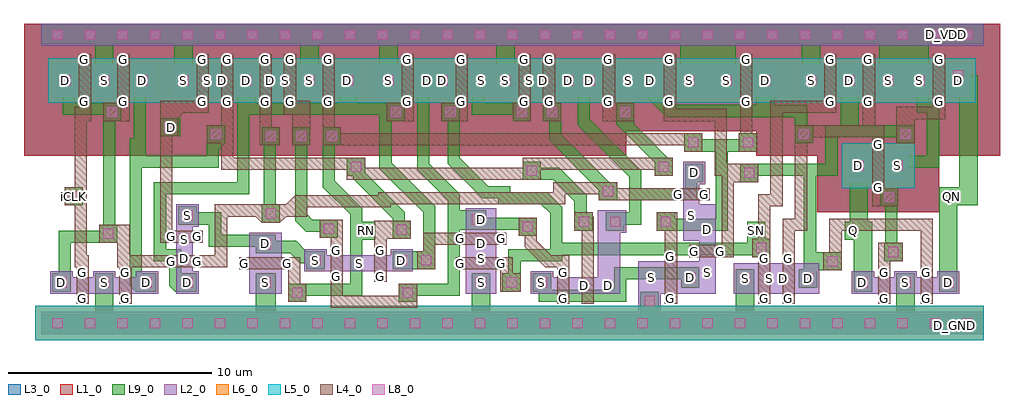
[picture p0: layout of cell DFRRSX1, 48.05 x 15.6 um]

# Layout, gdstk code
import gdstk
lib = gdstk.Library(unit=1e-6, precision=1e-09)
def R(c, l, rs):  # rectangles x0, y0, x1, y1
    for r in rs: c.add(gdstk.rectangle(r[:2], r[2:], *l))
def A(c, l, x, y, w, h, nx, ny, dx, dy):  # array of equal rectangles
    R(c, l, [(x+i*dx, y+j*dy, x+i*dx+w, y+j*dy+h) for i in range(nx) for j in range(ny)])
def P(c, l, *ps):  # polygons
    for p in ps: c.add(gdstk.Polygon(p, *l))
L1_0 = (1, 0)
L2_0 = (2, 0)
L3_0 = (3, 0)
L4_0 = (4, 0)
L5_0 = (5, 0)
L6_0 = (6, 0)
L8_0 = (8, 0)
L9_0 = (9, 0)

dfrrsx1 = lib.new_cell('DFRRSX1')
A(dfrrsx1, L1_0, 0, 8.8, 1.6, 6.5, 18, 1, 1.6, 0)
A(dfrrsx1, L1_0, 35.2, 8.8, 1.6, 6.5, 7, 1, 1.6, 0)
R(dfrrsx1, L1_0, [(38.2,6,44.2,10.6), (-0.85,8.8,0.3,15.3), (46.3,8.8,47.2,15.3), (28.8,10,35.2,15.3), (-0.85,10.2,5.15,14.8), (1.05,10.2,7.05,14.8), (4.95,10.2,10.95,14.8), (6.15,10.2,12.15,14.8), (8.05,10.2,14.05,14.8), (9.25,10.2,15.25,14.8), (11.15,10.2,17.15,14.8), (15.05,10.2,21.05,14.8), (17.7,10.2,23.7,14.8), (20.8,10.2,26.8,14.8), (22,10.2,28,14.8), (24.95,10.2,30.95,14.8), (27.95,10.2,33.95,14.8), (31.7,10.2,37.7,14.8), (35.85,10.2,41.85,14.8), (37.75,10.2,43.75,14.8), (41.2,10.2,47.2,14.8)])
A(dfrrsx1, L2_0, 0, 0, 1.6, 1.1, 29, 2, 1.6, 14.2)
A(dfrrsx1, L2_0, 21.1, 11.7, 1.1, 1.6, 3, 1, 1.2, 0)
R(dfrrsx1, L2_0, [(29.4,1.1,30.5,2.2), (0.45,2,1.55,3.1), (1.55,2,2.55,2.8), (2.55,2,3.65,3.1), (2.55,2,3.65,3.1), (3.65,2,4.65,2.8), (4.65,2,5.75,3.1), (6.65,2,7.75,3.1), (10.25,2,11.85,3.1), (20.9,2,22.4,3.1), (24.1,2,25.2,3.1), (25.2,2,26.2,2.8), (25.3,2,26.4,2.8), (26.2,2,27.3,2.8), (26.4,2,27.4,2.8), (27.4,2,28.5,2.8), (27.4,2,28.5,6.1), (29.5,2,30.6,3.6), (30.6,2,31.4,3.6), (31.4,2,32.5,3.6), (31.4,2,33.2,3.6), (34.1,2,35.2,3.5), (35.2,2,36,3.5), (35.3,2,36.4,3.5), (36,2,37.1,3.5), (36.4,2,37.2,3.5), (37.2,2,38.3,3.5), (39.9,2,41,3.1), (41,2,42,2.8), (42,2,43.1,3.1), (42,2,43.1,3.1), (43.1,2,44.1,2.8), (44.1,2,45.2,3.1), (29.4,2.2,29.5,3.6), (31.4,2.25,32.5,3.35), (32.4,2.5,33.2,3.6), (6.65,3.1,7.45,4.1), (10.25,3.1,11.85,3.9), (12.95,3.1,14.05,4.2), (14.05,3.1,15.05,3.9), (15.05,3.1,16.15,3.9), (15.1,3.1,16.2,3.9), (16.2,3.1,17.2,3.9), (17.2,3.1,18.3,4.2), (20.9,3.1,22.4,3.9), (6.65,3.2,7.45,4.3), (20.9,3.2,22.4,4.3), (32.4,3.6,33.2,4.6), (10.25,3.9,11.85,5), (20.9,3.9,22.4,5), (6.65,4.1,7.45,5.2), (6.65,4.3,7.45,5.3), (20.9,4.3,22.4,5.1), (31.6,4.6,33.2,6.4), (32.4,4.6,33.2,5.7), (27.7,5,28.8,6.1), (20.9,5.1,22,6.2), (20.9,5.1,22.4,6.2), (6.65,5.3,7.75,6.4), (31.6,5.3,32.4,6.4), (31.6,6.4,32.4,7.4), (31.6,7.4,32.7,8.5), (39.7,7.5,40.8,9.1), (40.8,7.5,41.6,9.1), (41.6,7.5,42.7,9.1), (0.65,11.7,1.75,13.3), (1.75,11.7,2.55,13.3), (2.55,11.7,3.65,13.3), (2.55,11.7,3.65,13.3), (3.65,11.7,4.45,13.3), (4.45,11.7,5.55,13.3), (6.45,11.7,7.55,13.3), (7.55,11.7,8.35,13.3), (7.65,11.7,8.75,13.3), (8.35,11.7,9.45,13.3), (8.75,11.7,9.55,13.3), (9.55,11.7,10.65,13.3), (9.55,11.7,10.65,13.3), (10.65,11.7,11.45,13.3), (10.75,11.7,11.85,13.3), (11.45,11.7,12.55,13.3), (11.85,11.7,12.65,13.3), (12.65,11.7,13.75,13.3), (12.65,11.7,13.75,13.3), (13.75,11.7,14.55,13.3), (14.55,11.7,15.65,13.3), (16.55,11.7,17.65,13.3), (17.65,11.7,18.45,13.3), (18.45,11.7,19.55,13.3), (19.2,11.7,20.3,13.3), (20.3,11.7,21.1,13.3), (21.1,11.7,23.4,13.3), (23.4,11.7,24.2,13.3), (24.2,11.7,25.3,13.3), (24.6,11.7,25.4,13.3), (25.4,11.7,26.5,13.3), (26.45,11.7,27.55,13.3), (27.55,11.7,28.35,13.3), (28.35,11.7,29.45,13.3), (29.45,11.7,30.55,13.3), (30.55,11.7,31.35,13.3), (31.35,11.7,32.45,13.3), (32.45,11.7,33.2,13.3), (33.2,11.7,34.3,13.3), (34.3,11.7,35.1,13.3), (35.1,11.7,36.2,13.3), (37.35,11.7,38.45,13.3), (38.45,11.7,39.25,13.3), (39.25,11.7,40.35,13.3), (39.25,11.7,40.35,13.3), (40.35,11.7,41.15,13.3), (41.15,11.7,42.25,13.3), (42.25,11.7,42.7,13.3), (42.7,11.7,43.8,13.3), (43.8,11.7,44.6,13.3), (44.6,11.7,45.7,13.3), (22.3,11.95,23.4,13.05), (44.6,12.2,45.7,13.3)])
A(dfrrsx1, L3_0, 0, 8.8, 1.6, 6.5, 18, 1, 1.6, 0)
A(dfrrsx1, L3_0, 35.2, 8.8, 1.6, 6.5, 7, 1, 1.6, 0)
R(dfrrsx1, L3_0, [(38.2,6,44.2,10.6), (-0.85,8.8,0.3,15.3), (46.3,8.8,47.2,15.3), (28.8,10,35.2,15.3), (-0.85,10.2,5.15,14.8), (1.05,10.2,7.05,14.8), (4.95,10.2,10.95,14.8), (6.15,10.2,12.15,14.8), (8.05,10.2,14.05,14.8), (9.25,10.2,15.25,14.8), (11.15,10.2,17.15,14.8), (15.05,10.2,21.05,14.8), (17.7,10.2,23.7,14.8), (20.8,10.2,26.8,14.8), (22,10.2,28,14.8), (24.95,10.2,30.95,14.8), (27.95,10.2,33.95,14.8), (31.7,10.2,37.7,14.8), (35.85,10.2,41.85,14.8), (37.75,10.2,43.75,14.8), (41.2,10.2,47.2,14.8)])
A(dfrrsx1, L4_0, 10.85, 9.3, 0.9, 0.9, 3, 1, 1.5, 0)
R(dfrrsx1, L4_0, [(1.75,1.5,2.35,2), (1.75,1.5,2.35,3.3), (3.85,1.5,4.45,2), (3.85,1.5,4.45,3.3), (25.4,1.5,26,2), (25.4,1.5,26,3.3), (26.6,1.5,27.2,2), (26.6,1.5,27.2,3.3), (30.7,1.5,31.3,4.1), (30.7,1.5,31.3,2), (35.3,1.5,35.9,2), (35.3,1.5,35.9,4), (36.5,1.5,37.1,2), (36.5,1.5,37.1,4), (41.2,1.5,41.8,2), (41.2,1.5,41.8,3.3), (43.3,1.5,43.9,2), (43.3,1.5,43.9,3.3), (12.15,1.6,13.05,2.5), (17.6,1.6,18.5,2.5), (22.6,2.1,23.2,3.8), (22.7,2.1,23.6,3), (12.15,2.5,12.75,3.8), (14.25,2.6,14.85,3.1), (14.25,2.6,14.85,4.4), (16.4,2.6,17,3.1), (16.4,2.6,17,4.4), (1.75,2.8,2.35,3.3), (3.85,2.8,4.45,3.3), (25.4,2.8,26,3.3), (26.6,2.8,27.2,3.3), (41.2,2.8,41.8,3.3), (43.3,2.8,43.9,3.3), (38.5,3.15,39.4,4.05), (9.75,3.2,12.35,3.8), (9.75,3.2,10.25,3.8), (11.85,3.2,12.35,3.8), (18.5,3.2,19.4,4.1), (20.4,3.2,20.9,3.8), (20.4,3.2,22.9,3.8), (22.4,3.2,22.9,3.8), (6.15,3.3,6.65,3.9), (6.15,3.3,7.95,3.9), (7.45,3.3,7.95,3.9), (26.6,3.3,27.2,5.8), (41.2,3.3,41.8,4.5), (35.3,3.5,35.9,4), (36.5,3.5,37.1,4), (30.7,3.6,31.3,4.1), (41.5,3.6,42.4,4.5), (31.9,3.8,32.4,4.4), (31.9,3.8,33.7,4.4), (33.2,3.8,33.7,4.4), (35,3.8,35.9,4.7), (14.25,3.9,14.85,4.4), (16.4,3.9,17,4.4), (30.7,4.05,31.3,6), (14.25,4.4,14.85,5.65), (20.4,4.4,20.9,5), (20.4,4.4,22.9,5), (22.4,4.4,22.9,5), (2.85,4.5,3.75,5.4), (6.15,4.5,6.65,5.1), (6.15,4.5,7.95,5.1), (7.45,4.5,7.95,5.1), (17.3,4.7,18.2,5.6), (13.7,4.75,14.6,5.65), (23.5,4.85,24.4,5.75), (26.25,5.1,27.15,6), (30.3,5.1,31.2,6), (10.85,5.5,11.75,6.4), (40.9,6.3,41.3,7), (41.3,6.3,42.2,7.2), (1.15,6.35,2.05,7.25), (27.45,6.6,28.35,7.5), (28.35,6.6,31.4,7.2), (31.1,6.6,31.6,7.2), (31.1,6.6,32.9,7.2), (32.4,6.6,32.9,7.2), (40.9,7,41.5,9.6), (40.9,7,41.5,7.5), (34.1,7.5,34.4,8.4), (34.4,7.5,35.3,8.4), (23.7,7.6,24.6,8.5), (15.05,7.8,15.95,8.7), (30.2,7.8,31.1,8.7), (31.65,9,32.55,9.9), (34.35,9,35.25,9.9), (40.9,9.1,41.5,9.6), (10.75,9.3,11.35,11.2), (14.75,9.3,29.85,9.9), (29.75,9.3,32.55,9.9), (8.15,9.4,9.05,10.3), (37.1,9.4,38,10.3), (42.1,9.4,43,10.3), (5.85,9.75,6.75,10.65), (34.4,9.9,35,11.25), (13.85,10.2,14.45,11.2), (42.1,10.3,43,10.6), (3.05,10.5,3.95,11.4), (3.75,10.5,4.35,11.25), (17,10.5,17.9,11.4), (17.75,10.5,18.35,11.2), (19.7,10.5,20.6,11.4), (20.4,10.5,21,11.2), (23.2,10.5,24.1,11.4), (24.7,10.5,25.6,11.4), (27.65,10.5,28.9,11.4), (28.3,10.5,29.2,11.4), (42.1,10.6,44.5,11.2), (1.85,11.2,2.45,13.8), (1.85,11.2,2.45,11.7), (3.75,11.2,4.35,13.8), (3.75,11.2,4.35,11.7), (7.65,11.2,8.25,13.8), (7.65,11.2,8.25,11.7), (8.85,11.2,9.45,13.8), (8.85,11.2,9.45,11.7), (10.75,11.2,11.35,13.8), (10.75,11.2,11.35,11.7), (11.95,11.2,12.55,13.8), (11.95,11.2,12.55,11.7), (13.85,11.2,14.45,13.8), (13.85,11.2,14.45,11.7), (17.75,11.2,18.35,13.8), (17.75,11.2,18.35,11.7), (20.4,11.2,21,13.8), (20.4,11.2,21,11.7), (23.5,11.2,24.1,13.8), (23.5,11.2,24.1,11.7), (24.7,11.2,25.3,13.8), (24.7,11.2,25.3,11.7), (27.65,11.2,28.25,13.8), (27.65,11.2,28.25,11.7), (30.65,11.2,31.25,13.8), (30.65,11.2,31.25,11.7), (34.4,11.2,35,13.8), (34.4,11.2,35,11.7), (38.55,11.2,39.15,13.8), (38.55,11.2,39.15,11.7), (40.45,11.2,41.05,13.8), (40.45,11.2,41.05,11.7), (43.9,11.2,44.5,13.8), (43.9,11.2,44.5,11.7), (1.85,13.3,2.45,13.8), (3.75,13.3,4.35,13.8), (7.65,13.3,8.25,13.8), (8.85,13.3,9.45,13.8), (10.75,13.3,11.35,13.8), (11.95,13.3,12.55,13.8), (13.85,13.3,14.45,13.8), (17.75,13.3,18.35,13.8), (20.4,13.3,21,13.8), (23.5,13.3,24.1,13.8), (24.7,13.3,25.3,13.8), (27.65,13.3,28.25,13.8), (30.65,13.3,31.25,13.8), (34.4,13.3,35,13.8), (38.55,13.3,39.15,13.8), (40.45,13.3,41.05,13.8), (43.9,13.3,44.5,13.8)])
P(dfrrsx1, L4_0, [(12.5,6.85),(12.05,6.4),(12.5,6.4)],
  [(3.75,3.3),(6.15,3.3),(6.15,3.9),(4.35,3.9),(4.35,5.4),(3.75,5.4)],
  [(11.75,5.5),(12.05,5.8),(11.75,5.8)],
  [(10.55,5.8),(10.85,5.5),(10.85,5.8)],
  [(14.25,1.3),(18.5,1.3),(18.5,1.9),(14.85,1.9),(14.85,2.6),(14.25,2.6)],
  [(18.8,4.1),(19.4,4.1),(19.4,4.4),(20.4,4.4),(20.4,5),(18.8,5)],
  [(23.8,4.3),(24.8,3.3),(26,3.3),(26,3.9),(25.1,3.9),(24.4,4.6),(24.4,4.85),(23.8,4.85)],
  [(5.85,4.5),(6.45,4.5),(6.45,10.9),(8.25,10.9),(8.25,11.5),(5.85,11.5)],
  [(1.65,3.3),(2.35,3.3),(2.35,3.9),(2.25,3.9),(2.25,10.5),(2.45,10.5),(2.45,11.2),(1.65,11.2)],
  [(6.45,10.65),(6.75,10.65),(7,10.9),(6.45,10.9)],
  [(16.4,4.4),(17,4.4),(17,4.7),(17.3,4.7),(17.3,5.6),(16.4,5.6)],
  [(11.95,10.8),(12.35,10.8),(12.35,10.2),(13.25,10.2),(13.25,11.5),(11.95,11.5)],
  [(8.85,8.1),(15.05,8.1),(15.05,7.6),(24.3,7.6),(24.3,8.1),(30.2,8.1),(30.2,8.7),(23.7,8.7),(23.7,8.2),(15.65,8.2),(15.65,8.7),(9.45,8.7),(9.45,11.2),(8.85,11.2)],
  [(7.95,3.3),(9.15,3.3),(9.15,5.8),(13.1,5.8),(13.1,6.25),(17.2,6.25),(17.2,6.4),(25.8,6.4),(25.8,6.9),(28.35,6.9),(28.35,7.5),(25.2,7.5),(25.2,7),(16.6,7),(16.6,6.85),(12.5,6.85),(12.5,6.4),(8.55,6.4),(8.55,3.9),(7.95,3.9)],
  [(30.65,10.5),(33.15,10.5),(33.15,7.8),(33.5,7.8),(33.5,3.8),(34.1,3.8),(34.1,8.4),(33.75,8.4),(33.75,11.1),(31.25,11.1),(31.25,11.2),(30.65,11.2)],
  [(35.3,4.7),(35.9,4.7),(35.9,6.3),(36.5,6.3),(36.5,10.9),(39.15,10.9),(39.15,11.5),(35.9,11.5),(35.9,6.9),(35.3,6.9)],
  [(38,9.7),(41.05,9.7),(41.05,11.2),(40.45,11.2),(40.45,10.3),(38,10.3)],
  [(36.5,4),(37.1,4),(37.1,5.1),(37.7,5.1),(37.7,10.3),(37.1,10.3),(37.1,5.7),(36.5,5.7)],
  [(40.25,9.7),(40.9,9.7),(40.9,9),(41.5,9),(41.5,10.3),(40.25,10.3)],
  [(38.8,4.05),(39.4,4.05),(39.4,5.1),(43.3,5.1),(43.3,3.25),(43.9,3.25),(43.9,5.7),(38.8,5.7)])
A(dfrrsx1, L5_0, 1.6, -0.3, 1.6, 1.7, 28, 1, 1.6, 0)
R(dfrrsx1, L5_0, [(-0.3,-0.3,1.6,1.4), (39.4,7.2,43,9.4), (0.35,11.4,3.95,13.6), (2.25,11.4,5.85,13.6), (5.85,11.4,6.15,13.6), (6.15,11.4,9.75,13.6), (7.35,11.4,10.95,13.6), (9.25,11.4,12.85,13.6), (10.45,11.4,14.05,13.6), (12.35,11.4,15.95,13.6), (15.95,11.4,16.25,13.6), (16.25,11.4,19.85,13.6), (18.9,11.4,22.5,13.6), (22,11.4,25.6,13.6), (23.2,11.4,26.8,13.6), (26.15,11.4,29.75,13.6), (29.15,11.4,32.75,13.6), (32.75,11.4,33.05,13.6), (32.9,11.4,36.5,13.6), (36.5,11.4,37.05,13.6), (37.05,11.4,40.65,13.6), (38.95,11.4,42.55,13.6), (42.4,11.4,46,13.6)])
A(dfrrsx1, L6_0, 1.6, -0.3, 1.6, 1.7, 28, 1, 1.6, 0)
R(dfrrsx1, L6_0, [(-0.3,-0.3,1.6,1.4), (39.4,7.2,43,9.4), (0.35,11.4,3.95,13.6), (2.25,11.4,5.85,13.6), (5.85,11.4,6.15,13.6), (6.15,11.4,9.75,13.6), (7.35,11.4,10.95,13.6), (9.25,11.4,12.85,13.6), (10.45,11.4,14.05,13.6), (12.35,11.4,15.95,13.6), (15.95,11.4,16.25,13.6), (16.25,11.4,19.85,13.6), (18.9,11.4,22.5,13.6), (22,11.4,25.6,13.6), (23.2,11.4,26.8,13.6), (26.15,11.4,29.75,13.6), (29.15,11.4,32.75,13.6), (32.75,11.4,33.05,13.6), (32.9,11.4,36.5,13.6), (36.5,11.4,37.05,13.6), (37.05,11.4,40.65,13.6), (38.95,11.4,42.55,13.6), (42.4,11.4,46,13.6)])
A(dfrrsx1, L8_0, 0.55, 0.3, 0.5, 0.5, 29, 2, 1.6, 14.2)
A(dfrrsx1, L8_0, 21.4, 2.3, 0.5, 0.5, 3, 1, 1.5, 0)
A(dfrrsx1, L8_0, 11.05, 9.5, 0.5, 0.5, 3, 1, 1.5, 0)
R(dfrrsx1, L8_0, [(29.7,1.4,30.2,1.9), (12.35,1.8,12.85,2.3), (17.8,1.8,18.3,2.3), (0.75,2.3,1.25,2.8), (2.85,2.3,3.35,2.8), (2.85,2.3,3.35,2.8), (4.95,2.3,5.45,2.8), (6.95,2.3,7.45,2.8), (10.8,2.3,11.3,2.8), (40.2,2.3,40.7,2.8), (42.3,2.3,42.8,2.8), (42.3,2.3,42.8,2.8), (44.4,2.3,44.9,2.8), (34.4,2.5,34.9,3), (37.5,2.5,38,3), (31.7,2.55,32.2,3.05), (31.7,2.55,32.2,3.05), (38.7,3.35,39.2,3.85), (13.25,3.4,13.75,3.9), (17.5,3.4,18,3.9), (18.7,3.4,19.2,3.9), (41.7,3.8,42.2,4.3), (35.2,4,35.7,4.5), (10.8,4.2,11.3,4.7), (3.05,4.7,3.55,5.2), (17.5,4.9,18,5.4), (13.9,4.95,14.4,5.45), (23.7,5.05,24.2,5.55), (26.45,5.3,26.95,5.8), (28,5.3,28.5,5.8), (30.5,5.3,31,5.8), (21.2,5.4,21.7,5.9), (6.95,5.6,7.45,6.1), (11.05,5.7,11.55,6.2), (41.5,6.5,42,7), (1.35,6.55,1.85,7.05), (27.65,6.8,28.15,7.3), (31.9,7.7,32.4,8.2), (34.6,7.7,35.1,8.2), (23.9,7.8,24.4,8.3), (15.25,8,15.75,8.5), (30.4,8,30.9,8.5), (40,8.05,40.5,8.55), (41.9,8.05,42.4,8.55), (31.85,9.2,32.35,9.7), (34.55,9.2,35.05,9.7), (8.35,9.6,8.85,10.1), (37.3,9.6,37.8,10.1), (42.3,9.6,42.8,10.1), (6.05,9.95,6.55,10.45), (3.25,10.7,3.75,11.2), (17.2,10.7,17.7,11.2), (19.9,10.7,20.4,11.2), (23.4,10.7,23.9,11.2), (24.9,10.7,25.4,11.2), (28.5,10.7,29,11.2), (0.95,12.25,1.45,12.75), (2.85,12.25,3.35,12.75), (2.85,12.25,3.35,12.75), (4.75,12.25,5.25,12.75), (6.75,12.25,7.25,12.75), (9.85,12.25,10.35,12.75), (9.85,12.25,10.35,12.75), (12.95,12.25,13.45,12.75), (12.95,12.25,13.45,12.75), (14.85,12.25,15.35,12.75), (16.85,12.25,17.35,12.75), (19.5,12.25,20,12.75), (22.6,12.25,23.1,12.75), (22.6,12.25,23.1,12.75), (25.7,12.25,26.2,12.75), (26.75,12.25,27.25,12.75), (31.65,12.25,32.15,12.75), (33.5,12.25,34,12.75), (35.4,12.25,35.9,12.75), (37.65,12.25,38.15,12.75), (39.55,12.25,40.05,12.75), (39.55,12.25,40.05,12.75), (41.45,12.25,41.95,12.75), (43,12.25,43.5,12.75), (44.9,12.5,45.4,13)])
A(dfrrsx1, L9_0, 0, 0, 1.6, 1, 29, 2, 1.6, 14.3)
A(dfrrsx1, L9_0, 21.2, 2.1, 0.9, 0.9, 3, 1, 1.5, 0)
A(dfrrsx1, L9_0, 10.85, 9.3, 0.9, 0.9, 3, 1, 1.5, 0)
A(dfrrsx1, L9_0, 19.3, 12, 0.9, 1, 3, 1, 3.1, 0)
R(dfrrsx1, L9_0, [(44.5,0,45.4,0.9), (21.2,0.1,22.1,3), (34.2,0.1,35.1,3.2), (42.1,0.1,43,3), (29.5,1,30.4,1.45), (29.5,1.2,30.4,2.1), (12.15,1.6,13.05,2.5), (17.6,1.6,18.5,2.5), (0.55,2.1,1.45,3), (2.65,2.1,3.55,3), (2.65,2.1,3.55,3), (4.75,2.1,5.65,3), (6.75,2.1,7.65,3), (10.55,2.1,11.55,3), (40,2.1,40.9,3), (40,2.1,40.9,5.55), (42.1,2.1,43,3), (42.1,2.1,43,3), (44.2,2.1,45.1,3), (44.2,2.1,45.1,7.25), (31.5,2.3,32.4,3.3), (34.2,2.3,35.1,3.2), (37.3,2.3,38.2,3.2), (31.5,2.35,32.4,3.25), (37.55,2.6,38.15,8.4), (38.1,3.15,38.5,4.05), (38.5,3.15,39.4,4.05), (13.05,3.2,13.95,4.1), (17.3,3.2,18.2,4.1), (18.2,3.2,18.5,3.5), (18.5,3.2,19.4,4.1), (41.5,3.6,42.4,4.5), (41.55,3.75,42.15,7.15), (35,3.8,35.9,4.7), (25.05,3.9,35.6,4.5), (10.55,4,11.55,4.9), (2.85,4.5,3.75,5.4), (34.75,4.5,35,4.65), (15.55,4.65,16.45,5.55), (34.75,4.65,35.65,5.55), (39.55,4.65,40.45,5.55), (39.55,4.65,40.9,5.55), (17.3,4.7,18.2,5.6), (13.7,4.75,14.6,5.65), (39.8,4.75,40.7,8.2), (3.05,4.8,3.65,11.1), (23.5,4.85,24.4,5.75), (26.25,5.1,27.15,6), (27.8,5.1,28.7,6), (30.3,5.1,31.2,6), (20.6,5.15,21,6.1), (21,5.15,23.5,5.75), (21,5.2,21.9,6.1), (6.75,5.4,7.65,6.3), (10.85,5.5,11.75,6.4), (10.95,5.8,11.55,9.9), (41.3,6.3,42.2,7.2), (1.15,6.35,2.05,7.25), (1.15,6.35,2.05,7.25), (44.35,6.35,45.25,7.25), (27.45,6.6,28.35,7.5), (31.7,7.5,32.6,8.4), (34.4,7.5,35.3,8.4), (23.7,7.6,24.6,8.5), (15.05,7.8,15.95,8.7), (30.2,7.8,31.1,8.7), (34.7,7.8,38.15,8.4), (39.8,7.8,40.7,8.8), (41.7,7.8,42.6,8.8), (31.65,9,32.55,9.9), (32,9,33.8,9.6), (33.2,9,35,9.6), (34.35,9,35.25,9.9), (4.55,9.05,5.15,12.6), (8.15,9.4,9.05,10.3), (37.1,9.4,38,10.3), (42.1,9.4,43,10.3), (5.85,9.75,6.75,10.65), (5.95,9.75,6.85,10.65), (39.35,10.3,40.25,12.05), (3.05,10.5,3.95,11.4), (17,10.5,17.9,11.4), (19.7,10.5,20.6,11.4), (23.2,10.5,24.1,11.4), (24.7,10.5,25.6,11.4), (28.3,10.5,29.2,11.4), (35.2,10.7,35.8,12.6), (9.65,10.8,17.6,11.4), (35.8,11.3,36.1,12.05), (10.25,11.4,10.55,12), (14.65,11.4,15.55,12), (0.75,12,1.65,13), (2.65,12,3.55,13), (2.65,12,3.55,13), (4.55,12,5.45,13), (6.55,12,7.45,13), (9.65,12,10.55,13), (9.65,12,10.55,13), (12.75,12,13.65,13), (12.75,12,13.65,13), (14.65,12,15.55,13), (16.65,12,17.55,13), (26.4,12,26.55,13), (26.55,12,27.45,13), (31.45,12,32.35,13), (31.45,12,34.2,14.3), (33.3,12,34.2,13), (35.2,12,36.1,13), (37.45,12,38.35,13), (39.35,12,40.25,13), (39.35,12,40.25,13), (41.25,12,42.15,13), (41.25,12,43.7,14.35), (42.8,12,43.7,13), (22.4,12.05,23.3,12.95), (6.55,12.1,7.45,15.2), (16.65,12.1,17.55,15.2), (37.45,12.1,38.35,15.2), (44.7,12.3,45.6,13.2), (44.1,14.3,45,15.2)])
P(dfrrsx1, L9_0, [(19.6,12.05),(21.2,12.05),(21.2,10.8),(23.8,10.8),(23.8,11.4),(21.8,11.4),(21.8,12.65),(19.6,12.65)],
  [(7.05,5.4),(8.25,5.4),(8.25,4.3),(11.15,4.3),(11.15,4.9),(8.85,4.9),(8.85,6),(7.05,6)],
  [(4.55,8.2),(8.75,8.2),(8.75,10),(8.15,10),(8.15,8.8),(5.15,8.8),(5.15,9.65),(4.55,9.65)],
  [(2.65,0.1),(4.1,0.1),(4.1,1),(3.55,1),(3.55,3),(2.65,3)],
  [(8.75,9.4),(8.75,9.1),(9.05,9.4)],
  [(5.55,3.6),(6.3,3.6),(6.3,2.4),(7.35,2.4),(7.35,3),(6.9,3),(6.9,4.2),(6.15,4.2),(6.15,6.9),(10.25,6.9),(10.25,12.6),(9.65,12.6),(9.65,7.5),(5.55,7.5)],
  [(12.5,5.6),(13.05,5.05),(14.3,5.05),(14.3,5.65),(13.35,5.65),(13.1,5.9),(13.1,9.3),(12.5,9.3)],
  [(2.65,12.1),(3.55,12.1),(3.55,14.3),(4.1,14.3),(4.1,15.2),(2.65,15.2)],
  [(13.05,1.9),(15.8,1.9),(15.8,6.2),(14.45,7.55),(14.45,9.3),(13.85,9.3),(13.85,7.25),(15.2,5.9),(15.2,2.5),(13.05,2.5)],
  [(10.55,0),(12.1,0),(12.1,1),(11.55,1),(11.55,3),(10.55,3)],
  [(11.9,14.3),(12.75,14.3),(12.75,12.1),(13.65,12.1),(13.65,15.2),(11.9,15.2)],
  [(15.35,7.65),(17.3,5.7),(17.3,4.7),(17.9,4.7),(17.9,6),(15.95,7.95),(15.95,8.4),(15.35,8.4)],
  [(6.3,2.4),(6.6,2.1),(6.75,2.1),(6.75,2.4)],
  [(4.35,2.4),(4.65,2.1),(4.75,2.1),(4.75,2.4)],
  [(0.85,2.4),(1.45,2.4),(1.45,4.5),(3.55,4.5),(3.55,5.1),(0.85,5.1)],
  [(1.05,10.8),(3.65,10.8),(3.65,11.4),(1.65,11.4),(1.65,12.6),(1.05,12.6)],
  [(25,9.55),(27.45,7.1),(27.45,6.7),(28.05,6.7),(28.05,7.4),(25.6,9.85),(25.6,10.5),(25,10.5)],
  [(4.35,2.4),(4.95,2.4),(4.95,9.05),(5.15,9.05),(5.15,9.65),(4.35,9.65)],
  [(11.55,4),(12.25,4),(12.75,3.5),(13.65,3.5),(13.65,4.1),(13.05,4.1),(12.55,4.6),(11.55,4.6)],
  [(16.65,8.15),(18.8,6),(18.8,4.1),(18.2,4.1),(18.2,3.5),(19.4,3.5),(19.4,6.3),(17.25,8.45),(17.25,10.8),(16.65,10.8)],
  [(17.9,1.9),(20.6,1.9),(20.6,6.1),(20,6.1),(20,2.5),(17.9,2.5)],
  [(18.5,8.1),(20,6.6),(20,5.5),(20.6,5.5),(20.6,6.9),(19.1,8.4),(19.1,12),(19.35,12),(19.35,12.6),(18.5,12.6)],
  [(24.6,7.6),(25.2,7.6),(26.25,6.55),(26.25,5.8),(26.85,5.8),(26.85,6.85),(25.5,8.2),(24.6,8.2)],
  [(28.3,10.35),(30.2,8.45),(30.2,8.1),(30.8,8.1),(30.8,8.7),(30.85,8.7),(29.2,10.35),(29.2,10.5),(29.05,10.5),(28.9,10.65),(28.9,11.4),(28.3,11.4)],
  [(24.5,1.6),(28.8,1.6),(28.8,2.7),(32.1,2.7),(32.1,3.3),(28.2,3.3),(28.2,2.2),(25.1,2.2),(25.1,2.7),(24.5,2.7)],
  [(28.65,5.4),(29.55,5.4),(29.55,7.2),(28.95,7.2),(28.95,6),(28.65,6)],
  [(21.5,14.3),(22.4,14.3),(22.4,12.1),(23.3,12.1),(23.3,15.2),(21.5,15.2)],
  [(29,6.6),(32.3,6.6),(32.3,7.8),(31.7,7.8),(31.7,7.2),(29,7.2)],
  [(26.4,10.3),(28.95,7.75),(28.95,7.2),(29.55,7.2),(29.55,8.05),(27,10.6),(27,12),(26.4,12)],
  [(20,8.4),(21.7,6.7),(22.5,6.7),(22.5,6.4),(24.6,6.4),(25.05,5.95),(25.05,4.2),(23,4.2),(23,3),(23.6,3),(23.6,3.6),(25.65,3.6),(25.65,6.25),(24.9,7),(23.1,7),(23.1,7.3),(22,7.3),(20.6,8.7),(20.6,10.55),(20,10.55)],
  [(30.9,5.1),(33.8,5.1),(33.8,9.6),(33.2,9.6),(33.2,5.7),(30.9,5.7)],
  [(35.2,10.7),(37.1,10.7),(37.1,9.7),(37.7,9.7),(37.7,11.3),(35.2,11.3)],
  [(27.45,12),(29.5,12),(30.8,10.7),(35.8,10.7),(35.8,11.3),(31.1,11.3),(29.8,12.6),(27.45,12.6)],
  [(42,8.2),(44.2,8.2),(44.2,11.5),(43.7,11.5),(43.7,12.6),(43.1,12.6),(43.1,10.9),(43.6,10.9),(43.6,8.8),(42,8.8)],
  [(37.55,7.8),(39.2,7.8),(39.2,9.7),(42.7,9.7),(42.7,10.3),(38.6,10.3),(38.6,8.4),(37.55,8.4)],
  [(44.35,6.35),(46.1,6.35),(46.1,12.75),(45.6,12.75),(45.6,13.2),(44.7,13.2),(44.7,11.85),(45.2,11.85),(45.2,7.25),(44.35,7.25)])
dfrrsx1.add(gdstk.Label('G', (14.15,11.452), layer=4, texttype=0))
dfrrsx1.add(gdstk.Label('G', (14.15,13.552), layer=4, texttype=0))
dfrrsx1.add(gdstk.Label('S', (13.199,12.501), layer=9, texttype=0))
dfrrsx1.add(gdstk.Label('D', (15.099,12.501), layer=9, texttype=0))
dfrrsx1.add(gdstk.Label('G', (12.098,3.5), layer=4, texttype=0))
dfrrsx1.add(gdstk.Label('G', (9.998,3.5), layer=4, texttype=0))
dfrrsx1.add(gdstk.Label('S', (11.049,2.549), layer=9, texttype=0))
dfrrsx1.add(gdstk.Label('D', (11.049,4.449), layer=9, texttype=0))
dfrrsx1.add(gdstk.Label('G', (18.05,11.452), layer=4, texttype=0))
dfrrsx1.add(gdstk.Label('G', (18.05,13.552), layer=4, texttype=0))
dfrrsx1.add(gdstk.Label('S', (17.099,12.501), layer=9, texttype=0))
dfrrsx1.add(gdstk.Label('D', (18.999,12.501), layer=2, texttype=0))
dfrrsx1.add(gdstk.Label('G', (16.7,2.852), layer=4, texttype=0))
dfrrsx1.add(gdstk.Label('G', (16.7,4.152), layer=4, texttype=0))
dfrrsx1.add(gdstk.Label('S', (15.649,3.501), layer=2, texttype=0))
dfrrsx1.add(gdstk.Label('D', (17.749,3.651), layer=9, texttype=0))
dfrrsx1.add(gdstk.Label('G', (23.8,11.452), layer=4, texttype=0))
dfrrsx1.add(gdstk.Label('G', (23.8,13.552), layer=4, texttype=0))
dfrrsx1.add(gdstk.Label('S', (22.849,12.501), layer=9, texttype=0))
dfrrsx1.add(gdstk.Label('D', (24.749,12.501), layer=2, texttype=0))
dfrrsx1.add(gdstk.Label('D', (21.651,4.449), layer=2, texttype=0))
dfrrsx1.add(gdstk.Label('G', (20.652,3.5), layer=4, texttype=0))
dfrrsx1.add(gdstk.Label('G', (22.652,3.5), layer=4, texttype=0))
dfrrsx1.add(gdstk.Label('S', (21.651,2.549), layer=9, texttype=0))
dfrrsx1.add(gdstk.Label('G', (9.15,11.452), layer=4, texttype=0))
dfrrsx1.add(gdstk.Label('G', (9.15,13.552), layer=4, texttype=0))
dfrrsx1.add(gdstk.Label('S', (8.199,12.501), layer=2, texttype=0))
dfrrsx1.add(gdstk.Label('D', (10.099,12.501), layer=9, texttype=0))
dfrrsx1.add(gdstk.Label('G', (11.05,11.452), layer=4, texttype=0))
dfrrsx1.add(gdstk.Label('G', (11.05,13.552), layer=4, texttype=0))
dfrrsx1.add(gdstk.Label('S', (12.001,12.501), layer=2, texttype=0))
dfrrsx1.add(gdstk.Label('D', (10.101,12.501), layer=9, texttype=0))
dfrrsx1.add(gdstk.Label('G', (34.7,11.452), layer=4, texttype=0))
dfrrsx1.add(gdstk.Label('G', (34.7,13.552), layer=4, texttype=0))
dfrrsx1.add(gdstk.Label('S', (33.749,12.501), layer=9, texttype=0))
dfrrsx1.add(gdstk.Label('D', (35.649,12.501), layer=9, texttype=0))
dfrrsx1.add(gdstk.Label('G', (31.352,6.9), layer=4, texttype=0))
dfrrsx1.add(gdstk.Label('G', (32.652,6.9), layer=4, texttype=0))
dfrrsx1.add(gdstk.Label('S', (32.001,5.849), layer=2, texttype=0))
dfrrsx1.add(gdstk.Label('D', (32.151,7.949), layer=9, texttype=0))
dfrrsx1.add(gdstk.Label('G', (4.15,1.752), layer=4, texttype=0))
dfrrsx1.add(gdstk.Label('G', (4.15,3.052), layer=4, texttype=0))
dfrrsx1.add(gdstk.Label('S', (3.099,2.551), layer=9, texttype=0))
dfrrsx1.add(gdstk.Label('D', (5.199,2.551), layer=9, texttype=0))
dfrrsx1.add(gdstk.Label('G', (12.25,11.452), layer=4, texttype=0))
dfrrsx1.add(gdstk.Label('G', (12.25,13.552), layer=4, texttype=0))
dfrrsx1.add(gdstk.Label('S', (13.201,12.501), layer=9, texttype=0))
dfrrsx1.add(gdstk.Label('D', (11.301,12.501), layer=2, texttype=0))
dfrrsx1.add(gdstk.Label('G', (43.6,1.752), layer=4, texttype=0))
dfrrsx1.add(gdstk.Label('G', (43.6,3.052), layer=4, texttype=0))
dfrrsx1.add(gdstk.Label('S', (42.549,2.551), layer=9, texttype=0))
dfrrsx1.add(gdstk.Label('D', (44.649,2.551), layer=9, texttype=0))
dfrrsx1.add(gdstk.Label('G', (25,11.452), layer=4, texttype=0))
dfrrsx1.add(gdstk.Label('G', (25,13.552), layer=4, texttype=0))
dfrrsx1.add(gdstk.Label('S', (24.049,12.501), layer=2, texttype=0))
dfrrsx1.add(gdstk.Label('D', (25.949,12.501), layer=9, texttype=0))
dfrrsx1.add(gdstk.Label('G', (6.402,3.6), layer=4, texttype=0))
dfrrsx1.add(gdstk.Label('G', (7.702,3.6), layer=4, texttype=0))
dfrrsx1.add(gdstk.Label('S', (7.051,4.651), layer=2, texttype=0))
dfrrsx1.add(gdstk.Label('D', (7.201,2.551), layer=9, texttype=0))
dfrrsx1.add(gdstk.Label('G', (27.95,11.452), layer=4, texttype=0))
dfrrsx1.add(gdstk.Label('G', (27.95,13.552), layer=4, texttype=0))
dfrrsx1.add(gdstk.Label('S', (28.901,12.501), layer=2, texttype=0))
dfrrsx1.add(gdstk.Label('D', (27.001,12.501), layer=9, texttype=0))
dfrrsx1.add(gdstk.Label('D', (15.599,3.501), layer=2, texttype=0))
dfrrsx1.add(gdstk.Label('G', (14.55,2.852), layer=4, texttype=0))
dfrrsx1.add(gdstk.Label('G', (14.55,4.152), layer=4, texttype=0))
dfrrsx1.add(gdstk.Label('S', (13.499,3.651), layer=9, texttype=0))
dfrrsx1.add(gdstk.Label('G', (2.15,11.452), layer=4, texttype=0))
dfrrsx1.add(gdstk.Label('G', (2.15,13.552), layer=4, texttype=0))
dfrrsx1.add(gdstk.Label('S', (3.101,12.501), layer=9, texttype=0))
dfrrsx1.add(gdstk.Label('D', (1.201,12.501), layer=9, texttype=0))
dfrrsx1.add(gdstk.Label('G', (36.8,1.752), layer=4, texttype=0))
dfrrsx1.add(gdstk.Label('G', (36.8,3.752), layer=4, texttype=0))
dfrrsx1.add(gdstk.Label('S', (35.849,2.751), layer=2, texttype=0))
dfrrsx1.add(gdstk.Label('D', (37.749,2.751), layer=9, texttype=0))
dfrrsx1.add(gdstk.Label('D', (7.051,3.751), layer=2, texttype=0))
dfrrsx1.add(gdstk.Label('G', (6.402,4.8), layer=4, texttype=0))
dfrrsx1.add(gdstk.Label('G', (7.702,4.8), layer=4, texttype=0))
dfrrsx1.add(gdstk.Label('S', (7.201,5.851), layer=9, texttype=0))
dfrrsx1.add(gdstk.Label('G', (40.75,11.452), layer=4, texttype=0))
dfrrsx1.add(gdstk.Label('G', (40.75,13.552), layer=4, texttype=0))
dfrrsx1.add(gdstk.Label('S', (41.701,12.501), layer=9, texttype=0))
dfrrsx1.add(gdstk.Label('D', (39.801,12.501), layer=9, texttype=0))
dfrrsx1.add(gdstk.Label('G', (41.2,7.252), layer=4, texttype=0))
dfrrsx1.add(gdstk.Label('G', (41.2,9.352), layer=4, texttype=0))
dfrrsx1.add(gdstk.Label('S', (42.151,8.301), layer=9, texttype=0))
dfrrsx1.add(gdstk.Label('D', (40.251,8.301), layer=9, texttype=0))
dfrrsx1.add(gdstk.Label('G', (4.05,11.452), layer=4, texttype=0))
dfrrsx1.add(gdstk.Label('G', (4.05,13.552), layer=4, texttype=0))
dfrrsx1.add(gdstk.Label('S', (3.099,12.501), layer=9, texttype=0))
dfrrsx1.add(gdstk.Label('D', (4.999,12.501), layer=9, texttype=0))
dfrrsx1.add(gdstk.Label('G', (2.05,1.752), layer=4, texttype=0))
dfrrsx1.add(gdstk.Label('G', (2.05,3.052), layer=4, texttype=0))
dfrrsx1.add(gdstk.Label('S', (3.101,2.551), layer=9, texttype=0))
dfrrsx1.add(gdstk.Label('D', (1.001,2.551), layer=9, texttype=0))
dfrrsx1.add(gdstk.Label('G', (7.95,11.452), layer=4, texttype=0))
dfrrsx1.add(gdstk.Label('G', (7.95,13.552), layer=4, texttype=0))
dfrrsx1.add(gdstk.Label('S', (6.999,12.501), layer=9, texttype=0))
dfrrsx1.add(gdstk.Label('D', (8.899,12.501), layer=2, texttype=0))
dfrrsx1.add(gdstk.Label('G', (20.7,11.452), layer=4, texttype=0))
dfrrsx1.add(gdstk.Label('G', (20.7,13.552), layer=4, texttype=0))
dfrrsx1.add(gdstk.Label('S', (21.651,12.501), layer=2, texttype=0))
dfrrsx1.add(gdstk.Label('D', (19.751,12.501), layer=9, texttype=0))
dfrrsx1.add(gdstk.Label('D', (26.749,2.401), layer=2, texttype=0))
dfrrsx1.add(gdstk.Label('G', (25.7,1.752), layer=4, texttype=0))
dfrrsx1.add(gdstk.Label('G', (25.7,3.052), layer=4, texttype=0))
dfrrsx1.add(gdstk.Label('S', (24.649,2.551), layer=9, texttype=0))
dfrrsx1.add(gdstk.Label('G', (30.95,11.452), layer=4, texttype=0))
dfrrsx1.add(gdstk.Label('G', (30.95,13.552), layer=4, texttype=0))
dfrrsx1.add(gdstk.Label('S', (31.901,12.501), layer=9, texttype=0))
dfrrsx1.add(gdstk.Label('D', (30.001,12.501), layer=2, texttype=0))
dfrrsx1.add(gdstk.Label('D', (27.949,2.401), layer=2, texttype=0))
dfrrsx1.add(gdstk.Label('G', (26.9,1.752), layer=4, texttype=0))
dfrrsx1.add(gdstk.Label('G', (26.9,3.052), layer=4, texttype=0))
dfrrsx1.add(gdstk.Label('S', (25.849,2.401), layer=2, texttype=0))
dfrrsx1.add(gdstk.Label('G', (41.5,1.752), layer=4, texttype=0))
dfrrsx1.add(gdstk.Label('G', (41.5,3.052), layer=4, texttype=0))
dfrrsx1.add(gdstk.Label('S', (42.551,2.551), layer=9, texttype=0))
dfrrsx1.add(gdstk.Label('D', (40.451,2.551), layer=9, texttype=0))
dfrrsx1.add(gdstk.Label('D', (32.799,5.149), layer=2, texttype=0))
dfrrsx1.add(gdstk.Label('G', (33.448,4.1), layer=4, texttype=0))
dfrrsx1.add(gdstk.Label('G', (32.148,4.1), layer=4, texttype=0))
dfrrsx1.add(gdstk.Label('S', (32.799,3.049), layer=2, texttype=0))
dfrrsx1.add(gdstk.Label('D', (31.949,2.801), layer=9, texttype=0))
dfrrsx1.add(gdstk.Label('S', (30.049,2.801), layer=2, texttype=0))
dfrrsx1.add(gdstk.Label('G', (31,3.852), layer=4, texttype=0))
dfrrsx1.add(gdstk.Label('G', (31,1.752), layer=4, texttype=0))
dfrrsx1.add(gdstk.Label('D', (36.549,2.751), layer=2, texttype=0))
dfrrsx1.add(gdstk.Label('G', (35.6,1.752), layer=4, texttype=0))
dfrrsx1.add(gdstk.Label('G', (35.6,3.752), layer=4, texttype=0))
dfrrsx1.add(gdstk.Label('S', (34.649,2.751), layer=9, texttype=0))
dfrrsx1.add(gdstk.Label('D', (21.651,5.649), layer=2, texttype=0))
dfrrsx1.add(gdstk.Label('G', (20.652,4.7), layer=4, texttype=0))
dfrrsx1.add(gdstk.Label('G', (22.652,4.7), layer=4, texttype=0))
dfrrsx1.add(gdstk.Label('S', (21.651,3.749), layer=2, texttype=0))
dfrrsx1.add(gdstk.Label('G', (38.85,11.452), layer=4, texttype=0))
dfrrsx1.add(gdstk.Label('G', (38.85,13.552), layer=4, texttype=0))
dfrrsx1.add(gdstk.Label('S', (37.899,12.501), layer=9, texttype=0))
dfrrsx1.add(gdstk.Label('D', (39.799,12.501), layer=9, texttype=0))
dfrrsx1.add(gdstk.Label('G', (44.2,11.452), layer=4, texttype=0))
dfrrsx1.add(gdstk.Label('G', (44.2,13.552), layer=4, texttype=0))
dfrrsx1.add(gdstk.Label('S', (43.249,12.501), layer=9, texttype=0))
dfrrsx1.add(gdstk.Label('D', (45.149,12.501), layer=2, texttype=0))
dfrrsx1.add(gdstk.Label('iCLK', (1.6,6.8), layer=50, texttype=0))
dfrrsx1.add(gdstk.Label('D', (6.4,10.2), layer=50, texttype=0))
dfrrsx1.add(gdstk.Label('RN', (16,5.1), layer=50, texttype=0))
dfrrsx1.add(gdstk.Label('SN', (35.2,5.1), layer=50, texttype=0))
dfrrsx1.add(gdstk.Label('Q', (40,5.1), layer=50, texttype=0))
dfrrsx1.add(gdstk.Label('QN', (44.8,6.8), layer=50, texttype=0))
dfrrsx1.add(gdstk.Label('D_VDD', (44.55,14.75), layer=50, texttype=0))
dfrrsx1.add(gdstk.Label('D_GND', (44.95,0.45), layer=50, texttype=0))

lib.write_gds('DFRRSX1.gds')
